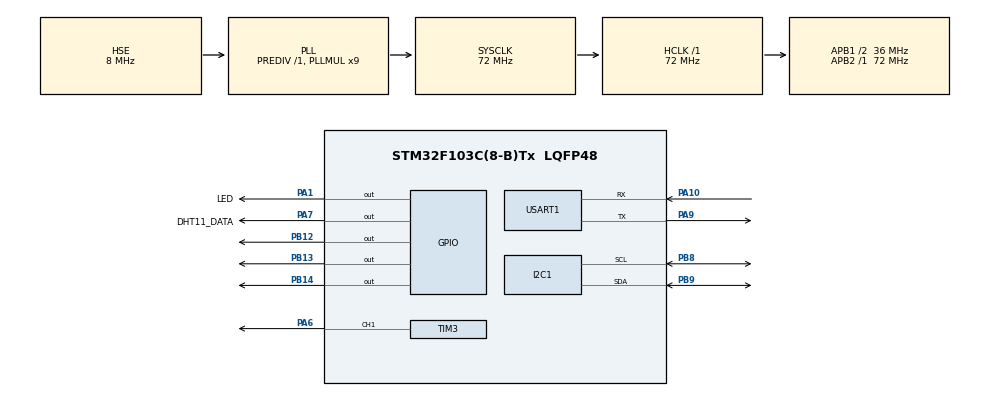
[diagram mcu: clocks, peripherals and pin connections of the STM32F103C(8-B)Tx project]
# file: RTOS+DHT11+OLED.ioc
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FREERTOS.Queues01=myQueue,2,uint16_t,0,Dynamic,NULL,NULL
FREERTOS.Tasks01=TaskLED,24,128,StartTaskLED,Default,NULL,Dynamic,NULL,NULL;TaskDHT11,24,128,StartTaskDHT11,Default,NULL,Dynamic,NULL,NULL;TaskOLED,24,128,StartTaskOLED,Default,NULL,Dynamic,NULL,NULL;TaskReport,8,128,StartTaskReport,Default,NULL,Dynamic,NULL,NULL;TaskFAN,24,128,StartTaskFAN,Default,NULL,Dynamic,NULL,NULL
FREERTOS.configTOTAL_HEAP_SIZE=4096
Mcu.Family=STM32F1
Mcu.Name=STM32F103C(8-B)Tx
Mcu.Package=LQFP48
NVIC.PriorityGroup=NVIC_PRIORITYGROUP_4
NVIC.TIM1_UP_IRQn=true\:15\:0\:false\:false\:true\:false\:false\:true\:true
NVIC.TimeBase=TIM1_UP_IRQn
NVIC.TimeBaseIP=TIM1
PA1.GPIO_Label=LED
PA1.Signal=GPIO_Output
PA10.Mode=Asynchronous
PA10.Signal=USART1_RX
PA13.Mode=Serial_Wire
PA13.Signal=SYS_JTMS-SWDIO
PA14.Mode=Serial_Wire
PA14.Signal=SYS_JTCK-SWCLK
PA6.Signal=S_TIM3_CH1
PA7.GPIO_Label=DHT11_DATA
PA7.Signal=GPIO_Output
PA9.Mode=Asynchronous
PA9.Signal=USART1_TX
PB12.Signal=GPIO_Output
PB13.Signal=GPIO_Output
PB14.Signal=GPIO_Output
PB8.Mode=I2C
PB8.Signal=I2C1_SCL
PB9.Mode=I2C
PB9.Signal=I2C1_SDA
PD0-OSC_IN.Mode=HSE-External-Oscillator
PD0-OSC_IN.Signal=RCC_OSC_IN
PD1-OSC_OUT.Mode=HSE-External-Oscillator
PD1-OSC_OUT.Signal=RCC_OSC_OUT
ProjectManager.HeapSize=0x200
ProjectManager.StackSize=0x400
ProjectManager.TargetToolchain=MDK-ARM V5
RCC.AHBFreq_Value=72000000
RCC.APB1CLKDivider=RCC_HCLK_DIV2
RCC.APB1Freq_Value=36000000
RCC.APB1TimFreq_Value=72000000
RCC.APB2Freq_Value=72000000
RCC.APB2TimFreq_Value=72000000
RCC.HCLKFreq_Value=72000000
RCC.PLLMUL=RCC_PLL_MUL9
RCC.PLLSourceVirtual=RCC_PLLSOURCE_HSE
RCC.SYSCLKFreq_VALUE=72000000
RCC.SYSCLKSource=RCC_SYSCLKSOURCE_PLLCLK
RCC.USBFreq_Value=72000000
SH.S_TIM3_CH1.0=TIM3_CH1,PWM Generation1 CH1
TIM3.Channel-PWM\ Generation1\ CH1=TIM_CHANNEL_1
TIM3.Period=1000-1
TIM3.Prescaler=72-1
USART1.VirtualMode=VM_ASYNC
VP_FREERTOS_VS_CMSIS_V2.Mode=CMSIS_V2
VP_SYS_VS_tim1.Mode=TIM1
board=custom

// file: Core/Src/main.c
/* USER CODE BEGIN Header */
/**
  ******************************************************************************
  * @file           : main.c
  * @brief          : Main program body
  ******************************************************************************
  * @attention
  *
  * Copyright (c) 2026 STMicroelectronics.
  * All rights reserved.
  *
  * This software is licensed under terms that can be found in the LICENSE file
  * in the root directory of this software component.
  * If no LICENSE file comes with this software, it is provided AS-IS.
  *
  ******************************************************************************
  */
/* USER CODE END Header */
#include "main.h"
#include "cmsis_os.h"
#include "i2c.h"
#include "tim.h"
#include "usart.h"
#include "gpio.h"

/* USER CODE BEGIN Includes */
#include "stdio.h"
#include "OLED.h"
#include "fan.h"
/* USER CODE END Includes */

void SystemClock_Config(void);
void MX_FREERTOS_Init(void);

int main(void)
{

  /* MCU Configuration--------------------------------------------------------*/

  /* Reset of all peripherals, Initializes the Flash interface and the Systick. */
  HAL_Init();

  /* Configure the system clock */
  SystemClock_Config();

  /* Initialize all configured peripherals */
  MX_GPIO_Init();
  MX_I2C1_Init();
  MX_USART1_UART_Init();
  MX_TIM3_Init();
  /* USER CODE BEGIN 2 */

	OLED_Init();
	Fan_Init();
Fan_SetSpeed(800);

  /* USER CODE END 2 */

  /* Init scheduler */
  osKernelInitialize();  /* Call init function for freertos objects (in freertos.c) */
  MX_FREERTOS_Init();

  /* Start scheduler */
  osKernelStart();
  /* We should never get here as control is now taken by the scheduler */
  /* Infinite loop */
  while (1)
  {

  }
}

void SystemClock_Config(void)
{
  RCC_OscInitTypeDef RCC_OscInitStruct = {0};
  RCC_ClkInitTypeDef RCC_ClkInitStruct = {0};

  /** Initializes the RCC Oscillators according to the specified parameters
  * in the RCC_OscInitTypeDef structure.
  */
  RCC_OscInitStruct.OscillatorType = RCC_OSCILLATORTYPE_HSE;
  RCC_OscInitStruct.HSEState = RCC_HSE_ON;
  RCC_OscInitStruct.HSEPredivValue = RCC_HSE_PREDIV_DIV1;
  RCC_OscInitStruct.HSIState = RCC_HSI_ON;
  RCC_OscInitStruct.PLL.PLLState = RCC_PLL_ON;
  RCC_OscInitStruct.PLL.PLLSource = RCC_PLLSOURCE_HSE;
  RCC_OscInitStruct.PLL.PLLMUL = RCC_PLL_MUL9;
  if (HAL_RCC_OscConfig(&RCC_OscInitStruct) != HAL_OK)
  {
    Error_Handler();
  }

  /** Initializes the CPU, AHB and APB buses clocks
  */
  RCC_ClkInitStruct.ClockType = RCC_CLOCKTYPE_HCLK|RCC_CLOCKTYPE_SYSCLK
                              |RCC_CLOCKTYPE_PCLK1|RCC_CLOCKTYPE_PCLK2;
  RCC_ClkInitStruct.SYSCLKSource = RCC_SYSCLKSOURCE_PLLCLK;
  RCC_ClkInitStruct.AHBCLKDivider = RCC_SYSCLK_DIV1;
  RCC_ClkInitStruct.APB1CLKDivider = RCC_HCLK_DIV2;
  RCC_ClkInitStruct.APB2CLKDivider = RCC_HCLK_DIV1;

  if (HAL_RCC_ClockConfig(&RCC_ClkInitStruct, FLASH_LATENCY_2) != HAL_OK)
  {
    Error_Handler();
  }
}

void HAL_TIM_PeriodElapsedCallback(TIM_HandleTypeDef *htim)
{
  if (htim->Instance == TIM1) {
    HAL_IncTick();
  }
}

void Error_Handler(void)
{
  __disable_irq();
  while (1)
  {
  }
}

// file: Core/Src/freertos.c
/* USER CODE BEGIN Header */
/**
  ******************************************************************************
  * File Name          : freertos.c
  * Description        : Code for freertos applications
  ******************************************************************************
  * @attention
  *
  * Copyright (c) 2026 STMicroelectronics.
  * All rights reserved.
  *
  * This software is licensed under terms that can be found in the LICENSE file
  * in the root directory of this software component.
  * If no LICENSE file comes with this software, it is provided AS-IS.
  *
  ******************************************************************************
  */
/* USER CODE END Header */

#include "FreeRTOS.h"
#include "task.h"
#include "main.h"
#include "cmsis_os.h"

/* USER CODE BEGIN Includes */
#include "OLED.h"
#include "dht11.h"
#include <stdio.h>
#include <string.h>
#include "usart.h"
#include "fan.h"

/* USER CODE END Includes */

/* USER CODE BEGIN Variables */

osMessageQueueId_t queueDataHandle;   // �� OLED
osMessageQueueId_t queueReportHandle;

uint8_t temp = 0;
uint8_t humi = 0;
/* USER CODE END Variables */
/* Definitions for TaskLED */
osThreadId_t TaskLEDHandle;
const osThreadAttr_t TaskLED_attributes = {
  .name = "TaskLED",
  .stack_size = 128 * 4,
  .priority = (osPriority_t) osPriorityNormal,
};
/* Definitions for TaskDHT11 */
osThreadId_t TaskDHT11Handle;
const osThreadAttr_t TaskDHT11_attributes = {
  .name = "TaskDHT11",
  .stack_size = 128 * 4,
  .priority = (osPriority_t) osPriorityNormal,
};
/* Definitions for TaskOLED */
osThreadId_t TaskOLEDHandle;
const osThreadAttr_t TaskOLED_attributes = {
  .name = "TaskOLED",
  .stack_size = 128 * 4,
  .priority = (osPriority_t) osPriorityNormal,
};
/* Definitions for TaskReport */
osThreadId_t TaskReportHandle;
const osThreadAttr_t TaskReport_attributes = {
  .name = "TaskReport",
  .stack_size = 128 * 4,
  .priority = (osPriority_t) osPriorityLow,
};
/* Definitions for TaskFAN */
osThreadId_t TaskFANHandle;
const osThreadAttr_t TaskFAN_attributes = {
  .name = "TaskFAN",
  .stack_size = 128 * 4,
  .priority = (osPriority_t) osPriorityNormal,
};
/* Definitions for myQueue */
osMessageQueueId_t myQueueHandle;
const osMessageQueueAttr_t myQueue_attributes = {
  .name = "myQueue"
};

void StartTaskLED(void *argument);
void StartTaskDHT11(void *argument);
void StartTaskOLED(void *argument);
void StartTaskReport(void *argument);
void StartTaskFAN(void *argument);

void MX_FREERTOS_Init(void); /* (MISRA C 2004 rule 8.1) */

void MX_FREERTOS_Init(void) {

  /* Create the queue(s) */
  /* creation of myQueue */
  myQueueHandle = osMessageQueueNew (2, sizeof(uint16_t), &myQueue_attributes);

  /* USER CODE BEGIN RTOS_QUEUES */
  /* add queues, ... */
  queueDataHandle = osMessageQueueNew(2, sizeof(DHT11_Data_t), NULL);
  queueReportHandle = osMessageQueueNew(2, sizeof(DHT11_Data_t), NULL);
  /* USER CODE END RTOS_QUEUES */

  /* Create the thread(s) */
  /* creation of TaskLED */
  TaskLEDHandle = osThreadNew(StartTaskLED, NULL, &TaskLED_attributes);

  /* creation of TaskDHT11 */
  TaskDHT11Handle = osThreadNew(StartTaskDHT11, NULL, &TaskDHT11_attributes);

  /* creation of TaskOLED */
  TaskOLEDHandle = osThreadNew(StartTaskOLED, NULL, &TaskOLED_attributes);

  /* creation of TaskReport */
  TaskReportHandle = osThreadNew(StartTaskReport, NULL, &TaskReport_attributes);

  /* creation of TaskFAN */
  TaskFANHandle = osThreadNew(StartTaskFAN, NULL, &TaskFAN_attributes);

}

void StartTaskLED(void *argument)
{
  /* USER CODE BEGIN StartTaskLED */

  /* Infinite loop */
  for(;;)
  {
	  HAL_GPIO_TogglePin(GPIOA,LED_Pin);

    osDelay(500);
  }
  /* USER CODE END StartTaskLED */
}

void StartTaskDHT11(void *argument)
{
  /* USER CODE BEGIN StartTaskDHT11 */
	DHT11_Data_t sensorData;
    char dbg[50];
    uint8_t ret;

  /* Infinite loop */
  for(;;)
  {
	  ret = DHT11_Read(&sensorData);
        if ( ret)
        {
            sprintf(dbg, "DHT11 OK: %dC, %d%%\r\n", sensorData.temperature, sensorData.humidity);
            osMessageQueuePut(queueDataHandle, &sensorData, 0, 0);
            osMessageQueuePut(queueReportHandle, &sensorData, 0, 0);
        }
        else
        {
            sprintf(dbg, "DHT11 Error: %d\r\n", ret);
        }
        HAL_UART_Transmit(&huart1, (uint8_t*)dbg, strlen(dbg), 100);
        osDelay(2000);
  }
  /* USER CODE END StartTaskDHT11 */
}

void StartTaskOLED(void *argument)
{
  /* USER CODE BEGIN StartTaskOLED */
	 DHT11_Data_t data;

    char line[20];
  /* Infinite loop */
  for(;;)
  {
	    if (osMessageQueueGet(queueDataHandle, &data, NULL, osWaitForever) == osOK)
        {
            OLED_Clear();
            sprintf(line, "Temp: %02d C", data.temperature);
            OLED_ShowString(1, 1, line);
            sprintf(line, "Humi: %02d %%", data.humidity);
            OLED_ShowString(2, 1, line);
        }

  }
  /* USER CODE END StartTaskOLED */
}

void StartTaskReport(void *argument)
{
  /* USER CODE BEGIN StartTaskReport */
	 DHT11_Data_t data;
    char json[60];
  /* Infinite loop */
  for(;;)
  {
	   if (osMessageQueueGet(queueDataHandle, &data, NULL, osWaitForever) == osOK)
        {
            sprintf(json, "{\"temperature\":%d,\"humidity\":%d}\r\n", data.temperature, data.humidity);
            HAL_UART_Transmit(&huart1, (uint8_t*)json, strlen(json), 100);
        }

  }
  /* USER CODE END StartTaskReport */
}

void StartTaskFAN(void *argument)
{
  /* USER CODE BEGIN StartTaskFAN */
  /* Infinite loop */
  DHT11_Data_t sensorData;
    uint8_t level = 0;

    for(;;)
    {
 if(osMessageQueueGet(queueReportHandle, &sensorData, NULL, osWaitForever) == osOK)
        {
            uint8_t t = sensorData.temperature;

            switch(level)
            {
                case 0:
                    if(t >= 29) level = 1;
                    break;

                case 1:
                    if(t >= 32) level = 2;
                    else if(t <= 27) level = 0;
                    break;

                case 2:
                    if(t >= 35) level = 3;
                    else if(t <= 30) level = 1;
                    break;

                case 3:
                    if(t <= 33) level = 2;
                    break;
            }

            switch(level)
            {
                case 0:
                    Fan_Stop();
                    break;

                case 1:
                    Fan_SetSpeed(500);
                    break;

                case 2:
                    Fan_SetSpeed(600);
                    break;

                case 3:
                    Fan_SetSpeed(700);
                    break;
            }
        }

        osDelay(2000);
    }

  /* USER CODE END StartTaskFAN */
}
